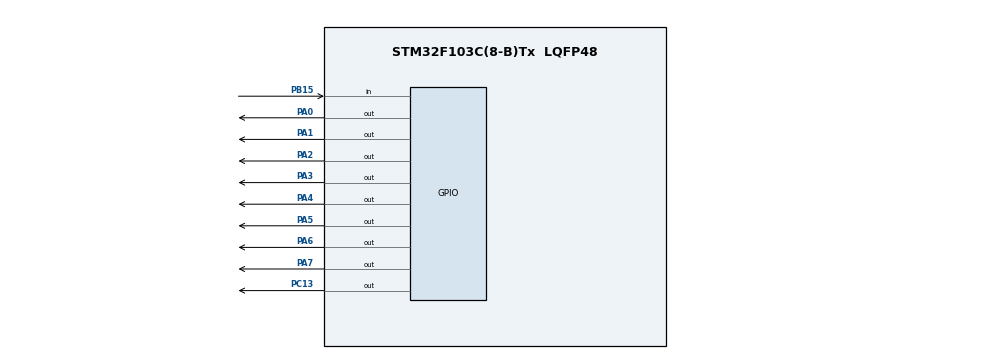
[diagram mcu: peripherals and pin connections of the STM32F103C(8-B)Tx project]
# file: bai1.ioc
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Mcu.Family=STM32F1
Mcu.Name=STM32F103C(8-B)Tx
Mcu.Package=LQFP48
NVIC.PriorityGroup=NVIC_PRIORITYGROUP_4
PA0-WKUP.Signal=GPIO_Output
PA1.Signal=GPIO_Output
PA2.Signal=GPIO_Output
PA3.Signal=GPIO_Output
PA4.Signal=GPIO_Output
PA5.Signal=GPIO_Output
PA6.Signal=GPIO_Output
PA7.Signal=GPIO_Output
PB15.GPIO_PuPd=GPIO_PULLUP
PB15.Signal=GPIO_Input
PC13-TAMPER-RTC.Signal=GPIO_Output
ProjectManager.HeapSize=0x200
ProjectManager.StackSize=0x400
ProjectManager.TargetToolchain=MDK-ARM V5.32
RCC.APB1Freq_Value=8000000
RCC.APB2Freq_Value=8000000
VP_SYS_VS_ND.Mode=No_Debug
board=custom

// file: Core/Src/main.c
/* USER CODE BEGIN Header */
/**
  ******************************************************************************
  * @file           : main.c
  * @brief          : Main program body
  ******************************************************************************
  * @attention
  *
  * Copyright (c) 2024 STMicroelectronics.
  * All rights reserved.
  *
  * This software is licensed under terms that can be found in the LICENSE file
  * in the root directory of this software component.
  * If no LICENSE file comes with this software, it is provided AS-IS.
  *
  ******************************************************************************
  */
/* USER CODE END Header */
#include "main.h"

/* USER CODE BEGIN Includes */
int Bitmap[10] = {0xC0, 0xF9, 0xA4, 0xB0, 0x99, 0x92, 0x82, 0xF8, 0x80, 0x90};
/* USER CODE END Includes */

void SystemClock_Config(void);
static void MX_GPIO_Init(void);

/* USER CODE BEGIN 0 */
void delay(unsigned int ms);
/* USER CODE END 0 */

int main(void)
{

  /* MCU Configuration--------------------------------------------------------*/

  /* Reset of all peripherals, Initializes the Flash interface and the Systick. */
  HAL_Init();

  /* Configure the system clock */
  SystemClock_Config();

  /* Initialize all configured peripherals */
  MX_GPIO_Init();

  /* Infinite loop */
  /* USER CODE BEGIN WHILE */
	int count = 0;
  while (1)
  {
		if ((GPIOB->IDR & GPIO_PIN_15) == 0)
		{
			delay(20);
			if ((GPIOB->IDR & GPIO_PIN_15) == 0)
			{
				while((GPIOB->IDR & GPIO_PIN_15) == 0);
				count++;
				GPIOA->ODR = Bitmap[count];
				if(count > 9)
					count=0;
			}
		}
    /* USER CODE END WHILE */

  }
}

void SystemClock_Config(void)
{
  RCC_OscInitTypeDef RCC_OscInitStruct = {0};
  RCC_ClkInitTypeDef RCC_ClkInitStruct = {0};

  /** Initializes the RCC Oscillators according to the specified parameters
  * in the RCC_OscInitTypeDef structure.
  */
  RCC_OscInitStruct.OscillatorType = RCC_OSCILLATORTYPE_HSI;
  RCC_OscInitStruct.HSIState = RCC_HSI_ON;
  RCC_OscInitStruct.HSICalibrationValue = RCC_HSICALIBRATION_DEFAULT;
  RCC_OscInitStruct.PLL.PLLState = RCC_PLL_NONE;
  if (HAL_RCC_OscConfig(&RCC_OscInitStruct) != HAL_OK)
  {
    Error_Handler();
  }

  /** Initializes the CPU, AHB and APB buses clocks
  */
  RCC_ClkInitStruct.ClockType = RCC_CLOCKTYPE_HCLK|RCC_CLOCKTYPE_SYSCLK
                              |RCC_CLOCKTYPE_PCLK1|RCC_CLOCKTYPE_PCLK2;
  RCC_ClkInitStruct.SYSCLKSource = RCC_SYSCLKSOURCE_HSI;
  RCC_ClkInitStruct.AHBCLKDivider = RCC_SYSCLK_DIV1;
  RCC_ClkInitStruct.APB1CLKDivider = RCC_HCLK_DIV1;
  RCC_ClkInitStruct.APB2CLKDivider = RCC_HCLK_DIV1;

  if (HAL_RCC_ClockConfig(&RCC_ClkInitStruct, FLASH_LATENCY_0) != HAL_OK)
  {
    Error_Handler();
  }
}

static void MX_GPIO_Init(void)
{
  GPIO_InitTypeDef GPIO_InitStruct = {0};

  /* GPIO Ports Clock Enable */
  __HAL_RCC_GPIOC_CLK_ENABLE();
  __HAL_RCC_GPIOA_CLK_ENABLE();
  __HAL_RCC_GPIOB_CLK_ENABLE();

  /*Configure GPIO pin Output Level */
  HAL_GPIO_WritePin(GPIOC, GPIO_PIN_13, GPIO_PIN_RESET);

  /*Configure GPIO pin Output Level */
  HAL_GPIO_WritePin(GPIOA, GPIO_PIN_0|GPIO_PIN_1|GPIO_PIN_2|GPIO_PIN_3
                          |GPIO_PIN_4|GPIO_PIN_5|GPIO_PIN_6|GPIO_PIN_7, GPIO_PIN_RESET);

  /*Configure GPIO pin : PC13 */
  GPIO_InitStruct.Pin = GPIO_PIN_13;
  GPIO_InitStruct.Mode = GPIO_MODE_OUTPUT_PP;
  GPIO_InitStruct.Pull = GPIO_NOPULL;
  GPIO_InitStruct.Speed = GPIO_SPEED_FREQ_LOW;
  HAL_GPIO_Init(GPIOC, &GPIO_InitStruct);

  /*Configure GPIO pins : PA0 PA1 PA2 PA3
                           PA4 PA5 PA6 PA7 */
  GPIO_InitStruct.Pin = GPIO_PIN_0|GPIO_PIN_1|GPIO_PIN_2|GPIO_PIN_3
                          |GPIO_PIN_4|GPIO_PIN_5|GPIO_PIN_6|GPIO_PIN_7;
  GPIO_InitStruct.Mode = GPIO_MODE_OUTPUT_PP;
  GPIO_InitStruct.Pull = GPIO_NOPULL;
  GPIO_InitStruct.Speed = GPIO_SPEED_FREQ_LOW;
  HAL_GPIO_Init(GPIOA, &GPIO_InitStruct);

  /*Configure GPIO pin : PB15 */
  GPIO_InitStruct.Pin = GPIO_PIN_15;
  GPIO_InitStruct.Mode = GPIO_MODE_INPUT;
  GPIO_InitStruct.Pull = GPIO_PULLUP;
  HAL_GPIO_Init(GPIOB, &GPIO_InitStruct);

}

/* USER CODE BEGIN 4 */
void delay(unsigned int ms)
{	unsigned int x,y;
	for(x = 0; x < ms; x++)
			for (y = 0; y < 1608; y++);
}
/* USER CODE END 4 */

void Error_Handler(void)
{
  __disable_irq();
  while (1)
  {
  }
}
